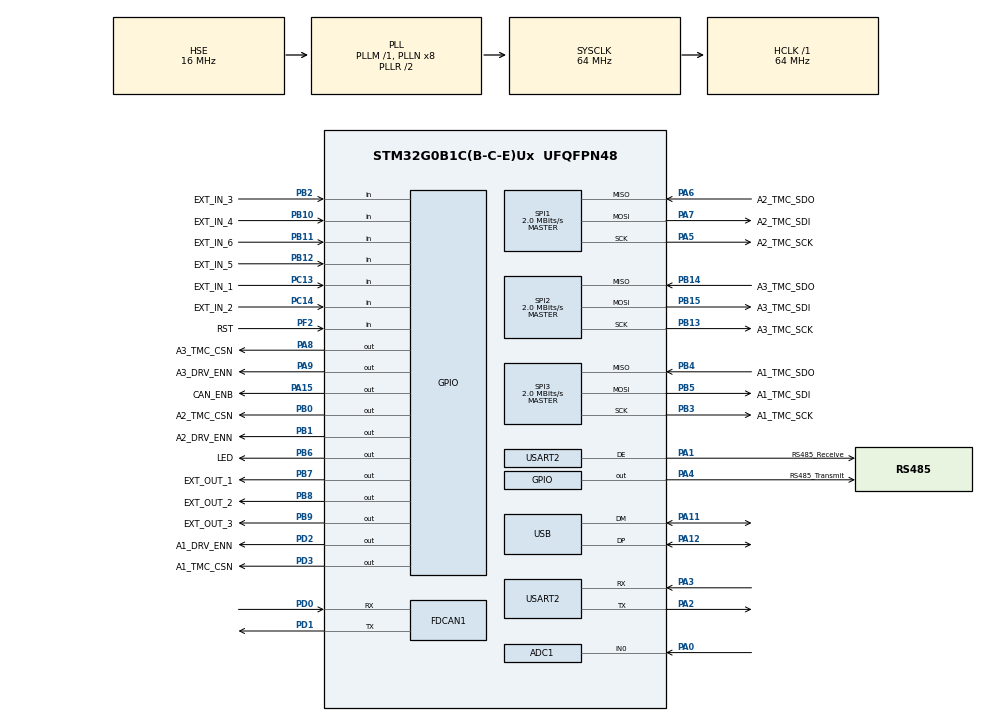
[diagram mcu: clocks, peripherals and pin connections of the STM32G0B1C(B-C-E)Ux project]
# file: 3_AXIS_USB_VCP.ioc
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ADC1.Channel-0\#ChannelRegularConversion=ADC_CHANNEL_0
ADC1.NbrOfConversionFlag=1
ADC1.Rank-0\#ChannelRegularConversion=1
ADC1.SamplingTime-0\#ChannelRegularConversion=ADC_SAMPLINGTIME_COMMON_1
ADC1.SelectedChannel=ADC_CHANNEL_0
ADC1.master=1
FDCAN1.CalculateBaudRateNominal=1000000
FDCAN1.CalculateTimeBitNominal=1000
FDCAN1.CalculateTimeQuantumNominal=62.5
FDCAN1.DataPrescaler=1
FDCAN1.DataTimeSeg1=10
FDCAN1.DataTimeSeg2=2
FDCAN1.FrameFormat=FDCAN_FRAME_FD_BRS
FDCAN1.NominalPrescaler=4
FDCAN1.NominalTimeSeg1=13
FDCAN1.NominalTimeSeg2=2
Mcu.Family=STM32G0
Mcu.Name=STM32G0B1C(B-C-E)Ux
Mcu.Package=UFQFPN48
NVIC.TIM16_FDCAN_IT0_IRQn=true\:0\:0\:false\:false\:true\:true\:true\:true
NVIC.USART2_LPUART2_IRQn=true\:0\:0\:false\:false\:true\:true\:true\:true
NVIC.USB_UCPD1_2_IRQn=true\:0\:0\:false\:false\:true\:true\:true\:true
PA0.Mode=IN0
PA0.Signal=ADC1_IN0
PA1.GPIO_Label=RS485_Receive
PA1.Mode=Hardware Flow Control (RS485)
PA1.Signal=USART2_DE
PA11\ [PA9].Mode=Device
PA11\ [PA9].Signal=USB_DM
PA12\ [PA10].Mode=Device
PA12\ [PA10].Signal=USB_DP
PA13.Mode=Serial_Wire
PA13.Signal=SYS_SWDIO
PA14-BOOT0.Mode=Serial_Wire
PA14-BOOT0.Signal=SYS_SWCLK
PA15.GPIO_Label=CAN_ENB
PA15.Signal=GPIO_Output
PA2.Mode=Asynchronous
PA2.Signal=USART2_TX
PA3.Mode=Asynchronous
PA3.Signal=USART2_RX
PA4.GPIO_Label=RS485_Transmit
PA4.Signal=GPIO_Output
PA5.GPIO_Label=A2_TMC_SCK
PA5.GPIO_Speed=GPIO_SPEED_FREQ_HIGH
PA5.Mode=Full_Duplex_Master
PA5.Signal=SPI1_SCK
PA6.GPIO_Label=A2_TMC_SDO
PA6.GPIO_Speed=GPIO_SPEED_FREQ_HIGH
PA6.Mode=Full_Duplex_Master
PA6.Signal=SPI1_MISO
PA7.GPIO_Label=A2_TMC_SDI
PA7.GPIO_Speed=GPIO_SPEED_FREQ_HIGH
PA7.Mode=Full_Duplex_Master
PA7.Signal=SPI1_MOSI
PA8.GPIO_Label=A3_TMC_CSN
PA8.PinState=GPIO_PIN_SET
PA8.Signal=GPIO_Output
PA9.GPIO_Label=A3_DRV_ENN
PA9.GPIO_PuPd=GPIO_PULLUP
PA9.PinState=GPIO_PIN_SET
PA9.Signal=GPIO_Output
PB0.GPIO_Label=A2_TMC_CSN
PB0.PinState=GPIO_PIN_SET
PB0.Signal=GPIO_Output
PB1.GPIO_Label=A2_DRV_ENN
PB1.GPIO_PuPd=GPIO_PULLUP
PB1.PinState=GPIO_PIN_SET
PB1.Signal=GPIO_Output
PB10.GPIO_Label=EXT_IN_4
PB10.GPIO_PuPd=GPIO_PULLDOWN
PB10.Signal=GPIO_Input
PB11.GPIO_Label=EXT_IN_6
PB11.GPIO_PuPd=GPIO_PULLDOWN
PB11.Signal=GPIO_Input
PB12.GPIO_Label=EXT_IN_5
PB12.GPIO_PuPd=GPIO_PULLDOWN
PB12.Signal=GPIO_Input
PB13.GPIO_Label=A3_TMC_SCK
PB13.GPIO_Speed=GPIO_SPEED_FREQ_HIGH
PB13.Mode=Full_Duplex_Master
PB13.Signal=SPI2_SCK
PB14.GPIO_Label=A3_TMC_SDO
PB14.GPIO_Speed=GPIO_SPEED_FREQ_HIGH
PB14.Mode=Full_Duplex_Master
PB14.Signal=SPI2_MISO
PB15.GPIO_Label=A3_TMC_SDI
PB15.GPIO_Speed=GPIO_SPEED_FREQ_HIGH
PB15.Mode=Full_Duplex_Master
PB15.Signal=SPI2_MOSI
PB2.GPIO_Label=EXT_IN_3
PB2.GPIO_PuPd=GPIO_PULLDOWN
PB2.Signal=GPIO_Input
PB3.GPIO_Label=A1_TMC_SCK
PB3.GPIO_Speed=GPIO_SPEED_FREQ_HIGH
PB3.Mode=Full_Duplex_Master
PB3.PinState=GPIO_PIN_RESET
PB3.Signal=SPI3_SCK
PB4.GPIO_Label=A1_TMC_SDO
PB4.GPIO_Speed=GPIO_SPEED_FREQ_HIGH
PB4.Mode=Full_Duplex_Master
PB4.Signal=SPI3_MISO
PB5.GPIO_Label=A1_TMC_SDI
PB5.GPIO_Speed=GPIO_SPEED_FREQ_HIGH
PB5.Mode=Full_Duplex_Master
PB5.Signal=SPI3_MOSI
PB6.GPIO_Label=LED
PB6.GPIO_PuPd=GPIO_NOPULL
PB6.Signal=GPIO_Output
PB7.GPIO_Label=EXT_OUT_1
PB7.GPIO_PuPd=GPIO_PULLDOWN
PB7.Signal=GPIO_Output
PB8.GPIO_Label=EXT_OUT_2
PB8.GPIO_PuPd=GPIO_PULLDOWN
PB8.Signal=GPIO_Output
PB9.GPIO_Label=EXT_OUT_3
PB9.GPIO_PuPd=GPIO_PULLDOWN
PB9.Signal=GPIO_Output
PC13.GPIO_Label=EXT_IN_1
PC13.GPIO_PuPd=GPIO_PULLDOWN
PC13.Signal=GPIO_Input
PC14-OSC32_IN\ (PC14).GPIO_Label=EXT_IN_2
PC14-OSC32_IN\ (PC14).GPIO_PuPd=GPIO_PULLDOWN
PC14-OSC32_IN\ (PC14).Signal=GPIO_Input
PD0.GPIO_Speed=GPIO_SPEED_FREQ_HIGH
PD0.Mode=FDCAN_Activate
PD0.Signal=FDCAN1_RX
PD1.GPIO_Speed=GPIO_SPEED_FREQ_HIGH
PD1.Mode=FDCAN_Activate
PD1.Signal=FDCAN1_TX
PD2.GPIO_Label=A1_DRV_ENN
PD2.GPIO_PuPd=GPIO_PULLUP
PD2.PinState=GPIO_PIN_SET
PD2.Signal=GPIO_Output
PD3.GPIO_Label=A1_TMC_CSN
PD3.PinState=GPIO_PIN_SET
PD3.Signal=GPIO_Output
PF0-OSC_IN\ (PF0).Mode=HSE-External-Oscillator
PF0-OSC_IN\ (PF0).Signal=RCC_OSC_IN
PF1-OSC_OUT\ (PF1).Mode=HSE-External-Oscillator
PF1-OSC_OUT\ (PF1).Signal=RCC_OSC_OUT
PF2-NRST.GPIO_Label=RST
PF2-NRST.Signal=GPIO_Input
ProjectManager.HeapSize=0x200
ProjectManager.StackSize=0x400
ProjectManager.TargetToolchain=STM32CubeIDE
RCC.ADCFreq_Value=64000000
RCC.AHBFreq_Value=64000000
RCC.CortexFreq_Value=64000000
RCC.EXTERNAL_CLOCK_VALUE=48000
RCC.HCLKFreq_Value=64000000
RCC.HSE_VALUE=16000000
RCC.HSI48_VALUE=48000000
RCC.HSI_VALUE=16000000
RCC.LSE_VALUE=32768
RCC.PLLSourceVirtual=RCC_PLLSOURCE_HSE
RCC.SYSCLKFreq_VALUE=64000000
RCC.SYSCLKSource=RCC_SYSCLKSOURCE_PLLCLK
RCC.USBFreq_Value=48000000
RCC.VCOOutputFreq_Value=128000000
SPI1.BaudRatePrescaler=SPI_BAUDRATEPRESCALER_32
SPI1.CLKPhase=SPI_PHASE_1EDGE
SPI1.CalculateBaudRate=2.0 MBits/s
SPI1.DataSize=SPI_DATASIZE_8BIT
SPI1.Direction=SPI_DIRECTION_2LINES
SPI1.Mode=SPI_MODE_MASTER
SPI1.VirtualType=VM_MASTER
SPI2.BaudRatePrescaler=SPI_BAUDRATEPRESCALER_32
SPI2.CLKPhase=SPI_PHASE_1EDGE
SPI2.CalculateBaudRate=2.0 MBits/s
SPI2.DataSize=SPI_DATASIZE_8BIT
SPI2.Direction=SPI_DIRECTION_2LINES
SPI2.Mode=SPI_MODE_MASTER
SPI2.VirtualType=VM_MASTER
SPI3.BaudRatePrescaler=SPI_BAUDRATEPRESCALER_32
SPI3.CLKPhase=SPI_PHASE_1EDGE
SPI3.CalculateBaudRate=2.0 MBits/s
SPI3.DataSize=SPI_DATASIZE_8BIT
SPI3.Direction=SPI_DIRECTION_2LINES
SPI3.Mode=SPI_MODE_MASTER
SPI3.VirtualType=VM_MASTER
USART2.VirtualMode-Asynchronous=VM_ASYNC
USART2.VirtualMode-Hardware\ Flow\ Control\ (RS485)=VM_ASYNC
USB_DEVICE.CLASS_NAME_FS=CDC
USB_DEVICE.VirtualMode=Cdc
USB_DEVICE.VirtualModeFS=Cdc_FS
VP_USB_DEVICE_VS_USB_DEVICE_CDC_FS.Mode=CDC_FS
board=custom

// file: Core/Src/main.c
/* USER CODE BEGIN Header */
/**
  ******************************************************************************
  * @file           : main.c
  * @brief          : Main program body
  ******************************************************************************
  * @attention
  *
  * Copyright (c) 2025 STMicroelectronics.
  * All rights reserved.
  *
  * This software is licensed under terms that can be found in the LICENSE file
  * in the root directory of this software component.
  * If no LICENSE file comes with this software, it is provided AS-IS.
  *
  ******************************************************************************
  * Example: 3_AXIS_USB_VCP
  * Board: 3-AXIS Stepper Driver
  * Purpose: Example initializing the USB-C port as Virtual COM Port (VCP)
  * This can be used to output logdata at baud 115200 to a serial window.
  * In this example the ADC value supplied to ADC_IN is outputed. (note 5V max)
  */
/* USER CODE END Header */
#include "main.h"
#include "usb_device.h"

ADC_HandleTypeDef hadc1;

FDCAN_HandleTypeDef hfdcan1;

SPI_HandleTypeDef hspi1;
SPI_HandleTypeDef hspi2;
SPI_HandleTypeDef hspi3;

UART_HandleTypeDef huart2;

void SystemClock_Config(void);
static void MX_GPIO_Init(void);
static void MX_ADC1_Init(void);
static void MX_FDCAN1_Init(void);
static void MX_SPI1_Init(void);
static void MX_SPI2_Init(void);
static void MX_SPI3_Init(void);
static void MX_USART2_UART_Init(void);
/* USER CODE BEGIN PFP */
void EnterBootloader(void);
void Delay_Blocking(volatile uint32_t count);
/* USER CODE END PFP */

/* USER CODE BEGIN 0 */

/* RAMP config */
RampConfig Ramp_axis_1;
RampConfig Ramp_axis_2;
RampConfig Ramp_axis_3;

/* Current config */
CurrentConfig Current_axis_1;
CurrentConfig Current_axis_2;
CurrentConfig Current_axis_3;

/* User Settings */
const int ENC_ENB_A1 = 0;  // 0 = disable Encoder , 1 = enable Encoder
const int ENC_ENB_A2 = 0;  // 0 = disable Encoder , 1 = enable Encoder
const int ENC_ENB_A3 = 0;  // 0 = disable Encoder , 1 = enable Encoder
const int ENC_HOME_A1 = 0; // 0 = don't reset ENC counter at Z-event, 1 = reset at Z-event (for homing)
const int ENC_HOME_A2 = 0; // 0 = don't reset ENC counter at Z-event, 1 = reset at Z-event (for homing)
const int ENC_HOME_A3 = 0; // 0 = don't reset ENC counter at Z-event, 1 = reset at Z-event (for homing)
const int STG_ENB_A1 = 0;  // 0 = disable Stallguard, 1 = enable Stallguard
const int STG_ENB_A2 = 0;  // 0 = disable Stallguard, 1 = enable Stallguard
const int STG_ENB_A3 = 0;  // 0 = disable Stallguard, 1 = enable Stallguard
const int32_t ENC_Resolution_A1 =  8000; // Encoder resolution
const int32_t ENC_Resolution_A2 =  8000; // Encoder resolution
const int32_t ENC_Resolution_A3 =  8000; // Encoder resolution

/* CAN VARIABLES */
FDCAN_TxHeaderTypeDef CANTxHeader;
FDCAN_RxHeaderTypeDef CANRxHeader;

uint8_t CANTxData[8];	//CANTX data array
uint8_t CANRxData[8];	//CANRX data array
uint8_t RS485TxData[8];	//RS485 data array
uint8_t RS485RxData[8]; // RS485 data array
int Datacheck;			//value for checking incoming CAN Data

/*  CAN RECEIVE INTERRUPT */
void HAL_FDCAN_RxFifo0Callback(FDCAN_HandleTypeDef *hfdcan, uint32_t RxFifo0ITs)
{
    // Check which interrupt triggered this callback
    if ((RxFifo0ITs & FDCAN_IT_RX_FIFO0_NEW_MESSAGE) != 0)
    {
    	HAL_FDCAN_GetRxMessage(hfdcan, FDCAN_RX_FIFO0, &CANRxHeader, CANRxData);

    	if (CANRxData[0] == 0x01)
		{
			Datacheck = 1;
		}
    }
}

/* RS485 RECEIVE INTERRUPT */
void HAL_UART_RxCpltCallback(UART_HandleTypeDef *huart2)
{
	if(huart2->Instance == USART2)
	{
		if (RS485RxData[0] == 0x01)  // Check if the received data matches the condition (e.g., 0x01)
		{
			Datacheck = 1;  // Set the Datacheck flag to indicate new data received
		}
	}
}

/* USER CODE END 0 */

int main(void)
{

  /* MCU Configuration--------------------------------------------------------*/

  /* Reset of all peripherals, Initializes the Flash interface and the Systick. */
  HAL_Init();

  /* Configure the system clock */
  SystemClock_Config();

  /* USER CODE BEGIN SysInit */
  SSM_InitAxisConfig();
  /* USER CODE END SysInit */

  /* Initialize all configured peripherals */
  MX_GPIO_Init();
  MX_ADC1_Init();
  MX_FDCAN1_Init();
  MX_SPI1_Init();
  MX_SPI2_Init();
  MX_SPI3_Init();
  MX_USART2_UART_Init();
  MX_USB_Device_Init();
  /* USER CODE BEGIN 2 */
  TMC5160_Drive_Enable(0, 1); // turn off 1
  TMC5160_Drive_Enable(0, 2); // turn off 2
  TMC5160_Drive_Enable(0, 3); // turn off 3

  HAL_Delay(2000);
  uint8_t testMessage[] = "Hello from STM32 via USB VCP!\r\n";
  CDC_Transmit_FS(testMessage, sizeof(testMessage) - 1); // Send message over VCP

  char buffer[128];
  uint16_t adcMin = 0xFFFF;  // Max possible 16-bit value
  uint16_t adcMax = 0;       // Min possible 16-bit value

  /* USER CODE END 2 */

  /* Infinite loop */
  while (1)
  {

    /* USER CODE BEGIN 3 */
	 uint16_t adcValue = Read_AIN();

	 if (adcValue < adcMin)
	 {
	      adcMin = adcValue;
	 }
	 if (adcValue > adcMax)
	 {
	      adcMax = adcValue;
	 }

	 snprintf(buffer, sizeof(buffer), "ADC: %u, Min: %u, Max: %u\r\n", adcValue, adcMin, adcMax);

	 CDC_Transmit_FS((uint8_t *)buffer, strlen(buffer));
	 HAL_Delay(100);

	 if (enterBootloaderRequested)
	 {
		 HAL_Delay(200);
		 EnterBootloader();
	 }
  }
  /* USER CODE END 3 */
}

void SystemClock_Config(void)
{
  RCC_OscInitTypeDef RCC_OscInitStruct = {0};
  RCC_ClkInitTypeDef RCC_ClkInitStruct = {0};

  /** Configure the main internal regulator output voltage
  */
  HAL_PWREx_ControlVoltageScaling(PWR_REGULATOR_VOLTAGE_SCALE1);

  /** Initializes the RCC Oscillators according to the specified parameters
  * in the RCC_OscInitTypeDef structure.
  */
  RCC_OscInitStruct.OscillatorType = RCC_OSCILLATORTYPE_HSE|RCC_OSCILLATORTYPE_HSI48;
  RCC_OscInitStruct.HSEState = RCC_HSE_ON;
  RCC_OscInitStruct.HSI48State = RCC_HSI48_ON;
  RCC_OscInitStruct.PLL.PLLState = RCC_PLL_ON;
  RCC_OscInitStruct.PLL.PLLSource = RCC_PLLSOURCE_HSE;
  RCC_OscInitStruct.PLL.PLLM = RCC_PLLM_DIV1;
  RCC_OscInitStruct.PLL.PLLN = 8;
  RCC_OscInitStruct.PLL.PLLP = RCC_PLLP_DIV2;
  RCC_OscInitStruct.PLL.PLLQ = RCC_PLLQ_DIV2;
  RCC_OscInitStruct.PLL.PLLR = RCC_PLLR_DIV2;
  if (HAL_RCC_OscConfig(&RCC_OscInitStruct) != HAL_OK)
  {
    Error_Handler();
  }

  /** Initializes the CPU, AHB and APB buses clocks
  */
  RCC_ClkInitStruct.ClockType = RCC_CLOCKTYPE_HCLK|RCC_CLOCKTYPE_SYSCLK
                              |RCC_CLOCKTYPE_PCLK1;
  RCC_ClkInitStruct.SYSCLKSource = RCC_SYSCLKSOURCE_PLLCLK;
  RCC_ClkInitStruct.AHBCLKDivider = RCC_SYSCLK_DIV1;
  RCC_ClkInitStruct.APB1CLKDivider = RCC_HCLK_DIV1;

  if (HAL_RCC_ClockConfig(&RCC_ClkInitStruct, FLASH_LATENCY_2) != HAL_OK)
  {
    Error_Handler();
  }
}

static void MX_ADC1_Init(void)
{

  ADC_ChannelConfTypeDef sConfig = {0};

  /** Configure the global features of the ADC (Clock, Resolution, Data Alignment and number of conversion)
  */
  hadc1.Instance = ADC1;
  hadc1.Init.ClockPrescaler = ADC_CLOCK_SYNC_PCLK_DIV2;
  hadc1.Init.Resolution = ADC_RESOLUTION_12B;
  hadc1.Init.DataAlign = ADC_DATAALIGN_RIGHT;
  hadc1.Init.ScanConvMode = ADC_SCAN_DISABLE;
  hadc1.Init.EOCSelection = ADC_EOC_SINGLE_CONV;
  hadc1.Init.LowPowerAutoWait = DISABLE;
  hadc1.Init.LowPowerAutoPowerOff = DISABLE;
  hadc1.Init.ContinuousConvMode = DISABLE;
  hadc1.Init.NbrOfConversion = 1;
  hadc1.Init.DiscontinuousConvMode = DISABLE;
  hadc1.Init.ExternalTrigConv = ADC_SOFTWARE_START;
  hadc1.Init.ExternalTrigConvEdge = ADC_EXTERNALTRIGCONVEDGE_NONE;
  hadc1.Init.DMAContinuousRequests = DISABLE;
  hadc1.Init.Overrun = ADC_OVR_DATA_PRESERVED;
  hadc1.Init.SamplingTimeCommon1 = ADC_SAMPLETIME_1CYCLE_5;
  hadc1.Init.SamplingTimeCommon2 = ADC_SAMPLETIME_1CYCLE_5;
  hadc1.Init.OversamplingMode = DISABLE;
  hadc1.Init.TriggerFrequencyMode = ADC_TRIGGER_FREQ_HIGH;
  if (HAL_ADC_Init(&hadc1) != HAL_OK)
  {
    Error_Handler();
  }

  /** Configure Regular Channel
  */
  sConfig.Channel = ADC_CHANNEL_0;
  sConfig.Rank = ADC_REGULAR_RANK_1;
  sConfig.SamplingTime = ADC_SAMPLINGTIME_COMMON_1;
  if (HAL_ADC_ConfigChannel(&hadc1, &sConfig) != HAL_OK)
  {
    Error_Handler();
  }

}

static void MX_FDCAN1_Init(void)
{

  hfdcan1.Instance = FDCAN1;
  hfdcan1.Init.ClockDivider = FDCAN_CLOCK_DIV1;
  hfdcan1.Init.FrameFormat = FDCAN_FRAME_FD_BRS;
  hfdcan1.Init.Mode = FDCAN_MODE_NORMAL;
  hfdcan1.Init.AutoRetransmission = DISABLE;
  hfdcan1.Init.TransmitPause = DISABLE;
  hfdcan1.Init.ProtocolException = DISABLE;
  hfdcan1.Init.NominalPrescaler = 4;
  hfdcan1.Init.NominalSyncJumpWidth = 1;
  hfdcan1.Init.NominalTimeSeg1 = 13;
  hfdcan1.Init.NominalTimeSeg2 = 2;
  hfdcan1.Init.DataPrescaler = 1;
  hfdcan1.Init.DataSyncJumpWidth = 1;
  hfdcan1.Init.DataTimeSeg1 = 10;
  hfdcan1.Init.DataTimeSeg2 = 2;
  hfdcan1.Init.StdFiltersNbr = 0;
  hfdcan1.Init.ExtFiltersNbr = 0;
  hfdcan1.Init.TxFifoQueueMode = FDCAN_TX_FIFO_OPERATION;
  if (HAL_FDCAN_Init(&hfdcan1) != HAL_OK)
  {
    Error_Handler();
  }
  /* USER CODE BEGIN FDCAN1_Init 2 */
  FDCAN_FilterTypeDef sFilter;
  sFilter.IdType = FDCAN_STANDARD_ID;
  sFilter.FilterIndex = 1;
  sFilter.FilterType = FDCAN_FILTER_MASK;
  sFilter.FilterConfig = FDCAN_FILTER_TO_RXFIFO0;
  sFilter.FilterID1 = 0x000;
  sFilter.FilterID2 = 0x000;
  HAL_FDCAN_ConfigFilter(&hfdcan1, &sFilter);
  /* USER CODE END FDCAN1_Init 2 */

}

static void MX_SPI1_Init(void)
{

  /* SPI1 parameter configuration*/
  hspi1.Instance = SPI1;
  hspi1.Init.Mode = SPI_MODE_MASTER;
  hspi1.Init.Direction = SPI_DIRECTION_2LINES;
  hspi1.Init.DataSize = SPI_DATASIZE_8BIT;
  hspi1.Init.CLKPolarity = SPI_POLARITY_LOW;
  hspi1.Init.CLKPhase = SPI_PHASE_1EDGE;
  hspi1.Init.NSS = SPI_NSS_SOFT;
  hspi1.Init.BaudRatePrescaler = SPI_BAUDRATEPRESCALER_32;
  hspi1.Init.FirstBit = SPI_FIRSTBIT_MSB;
  hspi1.Init.TIMode = SPI_TIMODE_DISABLE;
  hspi1.Init.CRCCalculation = SPI_CRCCALCULATION_DISABLE;
  hspi1.Init.CRCPolynomial = 7;
  hspi1.Init.CRCLength = SPI_CRC_LENGTH_DATASIZE;
  hspi1.Init.NSSPMode = SPI_NSS_PULSE_ENABLE;
  if (HAL_SPI_Init(&hspi1) != HAL_OK)
  {
    Error_Handler();
  }

}

static void MX_SPI2_Init(void)
{

  /* SPI2 parameter configuration*/
  hspi2.Instance = SPI2;
  hspi2.Init.Mode = SPI_MODE_MASTER;
  hspi2.Init.Direction = SPI_DIRECTION_2LINES;
  hspi2.Init.DataSize = SPI_DATASIZE_8BIT;
  hspi2.Init.CLKPolarity = SPI_POLARITY_LOW;
  hspi2.Init.CLKPhase = SPI_PHASE_1EDGE;
  hspi2.Init.NSS = SPI_NSS_SOFT;
  hspi2.Init.BaudRatePrescaler = SPI_BAUDRATEPRESCALER_32;
  hspi2.Init.FirstBit = SPI_FIRSTBIT_MSB;
  hspi2.Init.TIMode = SPI_TIMODE_DISABLE;
  hspi2.Init.CRCCalculation = SPI_CRCCALCULATION_DISABLE;
  hspi2.Init.CRCPolynomial = 7;
  hspi2.Init.CRCLength = SPI_CRC_LENGTH_DATASIZE;
  hspi2.Init.NSSPMode = SPI_NSS_PULSE_ENABLE;
  if (HAL_SPI_Init(&hspi2) != HAL_OK)
  {
    Error_Handler();
  }

}

static void MX_SPI3_Init(void)
{

  /* SPI3 parameter configuration*/
  hspi3.Instance = SPI3;
  hspi3.Init.Mode = SPI_MODE_MASTER;
  hspi3.Init.Direction = SPI_DIRECTION_2LINES;
  hspi3.Init.DataSize = SPI_DATASIZE_8BIT;
  hspi3.Init.CLKPolarity = SPI_POLARITY_LOW;
  hspi3.Init.CLKPhase = SPI_PHASE_1EDGE;
  hspi3.Init.NSS = SPI_NSS_SOFT;
  hspi3.Init.BaudRatePrescaler = SPI_BAUDRATEPRESCALER_32;
  hspi3.Init.FirstBit = SPI_FIRSTBIT_MSB;
  hspi3.Init.TIMode = SPI_TIMODE_DISABLE;
  hspi3.Init.CRCCalculation = SPI_CRCCALCULATION_DISABLE;
  hspi3.Init.CRCPolynomial = 7;
  hspi3.Init.CRCLength = SPI_CRC_LENGTH_DATASIZE;
  hspi3.Init.NSSPMode = SPI_NSS_PULSE_ENABLE;
  if (HAL_SPI_Init(&hspi3) != HAL_OK)
  {
    Error_Handler();
  }

}

static void MX_USART2_UART_Init(void)
{

  huart2.Instance = USART2;
  huart2.Init.BaudRate = 115200;
  huart2.Init.WordLength = UART_WORDLENGTH_8B;
  huart2.Init.StopBits = UART_STOPBITS_1;
  huart2.Init.Parity = UART_PARITY_NONE;
  huart2.Init.Mode = UART_MODE_TX_RX;
  huart2.Init.HwFlowCtl = UART_HWCONTROL_NONE;
  huart2.Init.OverSampling = UART_OVERSAMPLING_16;
  huart2.Init.OneBitSampling = UART_ONE_BIT_SAMPLE_DISABLE;
  huart2.Init.ClockPrescaler = UART_PRESCALER_DIV1;
  huart2.AdvancedInit.AdvFeatureInit = UART_ADVFEATURE_NO_INIT;
  if (HAL_RS485Ex_Init(&huart2, UART_DE_POLARITY_HIGH, 0, 0) != HAL_OK)
  {
    Error_Handler();
  }
  if (HAL_UARTEx_SetTxFifoThreshold(&huart2, UART_TXFIFO_THRESHOLD_1_8) != HAL_OK)
  {
    Error_Handler();
  }
  if (HAL_UARTEx_SetRxFifoThreshold(&huart2, UART_RXFIFO_THRESHOLD_1_8) != HAL_OK)
  {
    Error_Handler();
  }
  if (HAL_UARTEx_DisableFifoMode(&huart2) != HAL_OK)
  {
    Error_Handler();
  }

}

static void MX_GPIO_Init(void)
{
  GPIO_InitTypeDef GPIO_InitStruct = {0};

  /* GPIO Ports Clock Enable */
  __HAL_RCC_GPIOC_CLK_ENABLE();
  __HAL_RCC_GPIOF_CLK_ENABLE();
  __HAL_RCC_GPIOA_CLK_ENABLE();
  __HAL_RCC_GPIOB_CLK_ENABLE();
  __HAL_RCC_GPIOD_CLK_ENABLE();

  /*Configure GPIO pin Output Level */
  HAL_GPIO_WritePin(GPIOA, RS485_Transmit_Pin|CAN_ENB_Pin, GPIO_PIN_RESET);

  /*Configure GPIO pin Output Level */
  HAL_GPIO_WritePin(GPIOB, A2_TMC_CSN_Pin|A2_DRV_ENN_Pin, GPIO_PIN_SET);

  /*Configure GPIO pin Output Level */
  HAL_GPIO_WritePin(GPIOA, A3_TMC_CSN_Pin|A3_DRV_ENN_Pin, GPIO_PIN_SET);

  /*Configure GPIO pin Output Level */
  HAL_GPIO_WritePin(GPIOD, A1_DRV_ENN_Pin|A1_TMC_CSN_Pin, GPIO_PIN_SET);

  /*Configure GPIO pin Output Level */
  HAL_GPIO_WritePin(GPIOB, LED_Pin|EXT_OUT_1_Pin|EXT_OUT_2_Pin|EXT_OUT_3_Pin, GPIO_PIN_RESET);

  /*Configure GPIO pins : EXT_IN_1_Pin EXT_IN_2_Pin */
  GPIO_InitStruct.Pin = EXT_IN_1_Pin|EXT_IN_2_Pin;
  GPIO_InitStruct.Mode = GPIO_MODE_INPUT;
  GPIO_InitStruct.Pull = GPIO_PULLDOWN;
  HAL_GPIO_Init(GPIOC, &GPIO_InitStruct);

  /*Configure GPIO pin : RST_Pin */
  GPIO_InitStruct.Pin = RST_Pin;
  GPIO_InitStruct.Mode = GPIO_MODE_INPUT;
  GPIO_InitStruct.Pull = GPIO_NOPULL;
  HAL_GPIO_Init(RST_GPIO_Port, &GPIO_InitStruct);

  /*Configure GPIO pins : RS485_Transmit_Pin A3_TMC_CSN_Pin CAN_ENB_Pin */
  GPIO_InitStruct.Pin = RS485_Transmit_Pin|A3_TMC_CSN_Pin|CAN_ENB_Pin;
  GPIO_InitStruct.Mode = GPIO_MODE_OUTPUT_PP;
  GPIO_InitStruct.Pull = GPIO_NOPULL;
  GPIO_InitStruct.Speed = GPIO_SPEED_FREQ_LOW;
  HAL_GPIO_Init(GPIOA, &GPIO_InitStruct);

  /*Configure GPIO pins : A2_TMC_CSN_Pin LED_Pin */
  GPIO_InitStruct.Pin = A2_TMC_CSN_Pin|LED_Pin;
  GPIO_InitStruct.Mode = GPIO_MODE_OUTPUT_PP;
  GPIO_InitStruct.Pull = GPIO_NOPULL;
  GPIO_InitStruct.Speed = GPIO_SPEED_FREQ_LOW;
  HAL_GPIO_Init(GPIOB, &GPIO_InitStruct);

  /*Configure GPIO pin : A2_DRV_ENN_Pin */
  GPIO_InitStruct.Pin = A2_DRV_ENN_Pin;
  GPIO_InitStruct.Mode = GPIO_MODE_OUTPUT_PP;
  GPIO_InitStruct.Pull = GPIO_PULLUP;
  GPIO_InitStruct.Speed = GPIO_SPEED_FREQ_LOW;
  HAL_GPIO_Init(A2_DRV_ENN_GPIO_Port, &GPIO_InitStruct);

  /*Configure GPIO pins : EXT_IN_3_Pin EXT_IN_4_Pin EXT_IN_6_Pin EXT_IN_5_Pin */
  GPIO_InitStruct.Pin = EXT_IN_3_Pin|EXT_IN_4_Pin|EXT_IN_6_Pin|EXT_IN_5_Pin;
  GPIO_InitStruct.Mode = GPIO_MODE_INPUT;
  GPIO_InitStruct.Pull = GPIO_PULLDOWN;
  HAL_GPIO_Init(GPIOB, &GPIO_InitStruct);

  /*Configure GPIO pin : A3_DRV_ENN_Pin */
  GPIO_InitStruct.Pin = A3_DRV_ENN_Pin;
  GPIO_InitStruct.Mode = GPIO_MODE_OUTPUT_PP;
  GPIO_InitStruct.Pull = GPIO_PULLUP;
  GPIO_InitStruct.Speed = GPIO_SPEED_FREQ_LOW;
  HAL_GPIO_Init(A3_DRV_ENN_GPIO_Port, &GPIO_InitStruct);

  /*Configure GPIO pin : A1_DRV_ENN_Pin */
  GPIO_InitStruct.Pin = A1_DRV_ENN_Pin;
  GPIO_InitStruct.Mode = GPIO_MODE_OUTPUT_PP;
  GPIO_InitStruct.Pull = GPIO_PULLUP;
  GPIO_InitStruct.Speed = GPIO_SPEED_FREQ_LOW;
  HAL_GPIO_Init(A1_DRV_ENN_GPIO_Port, &GPIO_InitStruct);

  /*Configure GPIO pin : A1_TMC_CSN_Pin */
  GPIO_InitStruct.Pin = A1_TMC_CSN_Pin;
  GPIO_InitStruct.Mode = GPIO_MODE_OUTPUT_PP;
  GPIO_InitStruct.Pull = GPIO_NOPULL;
  GPIO_InitStruct.Speed = GPIO_SPEED_FREQ_LOW;
  HAL_GPIO_Init(A1_TMC_CSN_GPIO_Port, &GPIO_InitStruct);

  /*Configure GPIO pins : EXT_OUT_1_Pin EXT_OUT_2_Pin EXT_OUT_3_Pin */
  GPIO_InitStruct.Pin = EXT_OUT_1_Pin|EXT_OUT_2_Pin|EXT_OUT_3_Pin;
  GPIO_InitStruct.Mode = GPIO_MODE_OUTPUT_PP;
  GPIO_InitStruct.Pull = GPIO_PULLDOWN;
  GPIO_InitStruct.Speed = GPIO_SPEED_FREQ_LOW;
  HAL_GPIO_Init(GPIOB, &GPIO_InitStruct);

}

/* USER CODE BEGIN 4 */
void EnterBootloader(void)
{
	  uint32_t bootAddr = SYS_MEM_BOOT_ADDR;
	  boot_func_t bootEntry;

	  // Disable all interrupts
	  __disable_irq();

	  extern USBD_HandleTypeDef hUsbDeviceFS;

	  USBD_Stop(&hUsbDeviceFS);
	  USBD_DeInit(&hUsbDeviceFS);

	  // Disable USB peripheral clock
	  __HAL_RCC_USB_CLK_DISABLE();

	  // Force USB D+ line low
	  __HAL_RCC_GPIOA_CLK_ENABLE();
	  GPIO_InitTypeDef gpio = {0};
	  gpio.Pin = GPIO_PIN_12;
	  gpio.Mode = GPIO_MODE_OUTPUT_PP;
	  gpio.Pull = GPIO_NOPULL;
	  gpio.Speed = GPIO_SPEED_FREQ_LOW;
	  HAL_GPIO_Init(GPIOA, &gpio);
	  HAL_GPIO_WritePin(GPIOA, GPIO_PIN_12, GPIO_PIN_RESET);

      Delay_Blocking(4000000);

	  // Deinitialize HAL / periphs
	  HAL_RCC_DeInit();
	  HAL_DeInit();

	  Delay_Blocking(4000000);

	  // Set stack pointer from system memory vector table
	  __set_MSP(*(uint32_t *)bootAddr);

	  // Read reset vector (entry point) from system memory
	  uint32_t resetVec = *(uint32_t *)(bootAddr + 4);
	  bootEntry = (boot_func_t)resetVec;

	  bootEntry();
}

void Delay_Blocking(volatile uint32_t count)
{
    while (count--) {
        __NOP();
    }
}
/* USER CODE END 4 */

void Error_Handler(void)
{
  __disable_irq();
  while (1)
  {
  }
}
